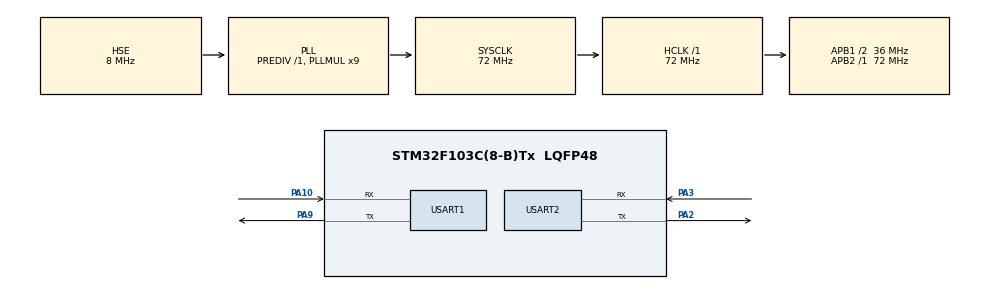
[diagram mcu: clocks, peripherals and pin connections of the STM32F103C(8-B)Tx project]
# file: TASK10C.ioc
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Mcu.Family=STM32F1
Mcu.Name=STM32F103C(8-B)Tx
Mcu.Package=LQFP48
NVIC.PriorityGroup=NVIC_PRIORITYGROUP_4
PA10.Mode=Asynchronous
PA10.Signal=USART1_RX
PA13.Mode=Serial_Wire
PA13.Signal=SYS_JTMS-SWDIO
PA14.Mode=Serial_Wire
PA14.Signal=SYS_JTCK-SWCLK
PA2.Mode=Asynchronous
PA2.Signal=USART2_TX
PA3.Mode=Asynchronous
PA3.Signal=USART2_RX
PA9.Mode=Asynchronous
PA9.Signal=USART1_TX
PD0-OSC_IN.Mode=HSE-External-Oscillator
PD0-OSC_IN.Signal=RCC_OSC_IN
PD1-OSC_OUT.Mode=HSE-External-Oscillator
PD1-OSC_OUT.Signal=RCC_OSC_OUT
ProjectManager.HeapSize=0x200
ProjectManager.StackSize=0x400
ProjectManager.TargetToolchain=MDK-ARM V5.32
RCC.AHBFreq_Value=72000000
RCC.APB1CLKDivider=RCC_HCLK_DIV2
RCC.APB1Freq_Value=36000000
RCC.APB1TimFreq_Value=72000000
RCC.APB2Freq_Value=72000000
RCC.APB2TimFreq_Value=72000000
RCC.HCLKFreq_Value=72000000
RCC.PLLMUL=RCC_PLL_MUL9
RCC.PLLSourceVirtual=RCC_PLLSOURCE_HSE
RCC.SYSCLKFreq_VALUE=72000000
RCC.SYSCLKSource=RCC_SYSCLKSOURCE_PLLCLK
RCC.USBFreq_Value=72000000
USART1.VirtualMode=VM_ASYNC
USART2.VirtualMode=VM_ASYNC
board=custom

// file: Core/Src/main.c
/* USER CODE BEGIN Header */
/**
  ******************************************************************************
  * @file           : main.c
  * @brief          : Main program body
  ******************************************************************************
  * @attention
  *
  * Copyright (c) 2026 STMicroelectronics.
  * All rights reserved.
  *
  * This software is licensed under terms that can be found in the LICENSE file
  * in the root directory of this software component.
  * If no LICENSE file comes with this software, it is provided AS-IS.
  *
  ******************************************************************************
  */
/* USER CODE END Header */
#include "main.h"
#include "string.h"

UART_HandleTypeDef huart1;
UART_HandleTypeDef huart2;

void SystemClock_Config(void);
static void MX_GPIO_Init(void);
static void MX_USART1_UART_Init(void);
static void MX_USART2_UART_Init(void);

int main(void)
{

  /* MCU Configuration--------------------------------------------------------*/

  /* Reset of all peripherals, Initializes the Flash interface and the Systick. */
  HAL_Init();

  /* Configure the system clock */
  SystemClock_Config();

  /* Initialize all configured peripherals */
  MX_GPIO_Init();
  MX_USART1_UART_Init();
  MX_USART2_UART_Init();

  /* Infinite loop */
  /* USER CODE BEGIN WHILE */

	uint8_t rx_buff[100];
	memset(rx_buff,0,sizeof(rx_buff));

	uint8_t cmd1[]="AT\r\n";
	HAL_UART_Transmit(&huart2, cmd1, 4, 500);
	HAL_UART_Receive(&huart2, rx_buff, 4, 500);
	HAL_UART_Transmit(&huart1, rx_buff, 4, 500);

	memset(rx_buff,0,sizeof(rx_buff));

	uint8_t cmd2[]="AT+CWMODE=1\r\n";
	HAL_UART_Transmit(&huart2, cmd2, strlen((char*)cmd2), 500);
	HAL_UART_Receive(&huart2, rx_buff, 100, 500);
	HAL_UART_Transmit(&huart1, rx_buff, 100, 500);

	memset(rx_buff,0,sizeof(rx_buff));

	uint8_t cmd3[]="AT+CWJAP=\"SNUC\",\"snu12345\"\r\n";
	HAL_UART_Transmit(&huart2, cmd3, strlen((char*)cmd3), 500);
	HAL_UART_Receive(&huart2, rx_buff, 100, 500);
	HAL_UART_Transmit(&huart1, rx_buff, 100, 500);

	HAL_Delay(10000);

	memset(rx_buff,0,sizeof(rx_buff));

	uint8_t cmd4[]="AT+CIFSR\r\n";
	HAL_UART_Transmit(&huart2, cmd4, strlen((char*)cmd4), 500);
	HAL_UART_Receive(&huart2, rx_buff, 100, 500);
	HAL_UART_Transmit(&huart1, rx_buff, 100, 500);

	HAL_Delay(10000);
  while (1)
  {
    /* USER CODE END WHILE */

  }
}

void SystemClock_Config(void)
{
  RCC_OscInitTypeDef RCC_OscInitStruct = {0};
  RCC_ClkInitTypeDef RCC_ClkInitStruct = {0};

  /** Initializes the RCC Oscillators according to the specified parameters
  * in the RCC_OscInitTypeDef structure.
  */
  RCC_OscInitStruct.OscillatorType = RCC_OSCILLATORTYPE_HSE;
  RCC_OscInitStruct.HSEState = RCC_HSE_ON;
  RCC_OscInitStruct.HSEPredivValue = RCC_HSE_PREDIV_DIV1;
  RCC_OscInitStruct.HSIState = RCC_HSI_ON;
  RCC_OscInitStruct.PLL.PLLState = RCC_PLL_ON;
  RCC_OscInitStruct.PLL.PLLSource = RCC_PLLSOURCE_HSE;
  RCC_OscInitStruct.PLL.PLLMUL = RCC_PLL_MUL9;
  if (HAL_RCC_OscConfig(&RCC_OscInitStruct) != HAL_OK)
  {
    Error_Handler();
  }

  /** Initializes the CPU, AHB and APB buses clocks
  */
  RCC_ClkInitStruct.ClockType = RCC_CLOCKTYPE_HCLK|RCC_CLOCKTYPE_SYSCLK
                              |RCC_CLOCKTYPE_PCLK1|RCC_CLOCKTYPE_PCLK2;
  RCC_ClkInitStruct.SYSCLKSource = RCC_SYSCLKSOURCE_PLLCLK;
  RCC_ClkInitStruct.AHBCLKDivider = RCC_SYSCLK_DIV1;
  RCC_ClkInitStruct.APB1CLKDivider = RCC_HCLK_DIV2;
  RCC_ClkInitStruct.APB2CLKDivider = RCC_HCLK_DIV1;

  if (HAL_RCC_ClockConfig(&RCC_ClkInitStruct, FLASH_LATENCY_2) != HAL_OK)
  {
    Error_Handler();
  }
}

static void MX_USART1_UART_Init(void)
{

  huart1.Instance = USART1;
  huart1.Init.BaudRate = 115200;
  huart1.Init.WordLength = UART_WORDLENGTH_8B;
  huart1.Init.StopBits = UART_STOPBITS_1;
  huart1.Init.Parity = UART_PARITY_NONE;
  huart1.Init.Mode = UART_MODE_TX_RX;
  huart1.Init.HwFlowCtl = UART_HWCONTROL_NONE;
  huart1.Init.OverSampling = UART_OVERSAMPLING_16;
  if (HAL_UART_Init(&huart1) != HAL_OK)
  {
    Error_Handler();
  }

}

static void MX_USART2_UART_Init(void)
{

  huart2.Instance = USART2;
  huart2.Init.BaudRate = 115200;
  huart2.Init.WordLength = UART_WORDLENGTH_8B;
  huart2.Init.StopBits = UART_STOPBITS_1;
  huart2.Init.Parity = UART_PARITY_NONE;
  huart2.Init.Mode = UART_MODE_TX_RX;
  huart2.Init.HwFlowCtl = UART_HWCONTROL_NONE;
  huart2.Init.OverSampling = UART_OVERSAMPLING_16;
  if (HAL_UART_Init(&huart2) != HAL_OK)
  {
    Error_Handler();
  }

}

static void MX_GPIO_Init(void)
{

  /* GPIO Ports Clock Enable */
  __HAL_RCC_GPIOD_CLK_ENABLE();
  __HAL_RCC_GPIOA_CLK_ENABLE();

}

void Error_Handler(void)
{
  __disable_irq();
  while (1)
  {
  }
}
